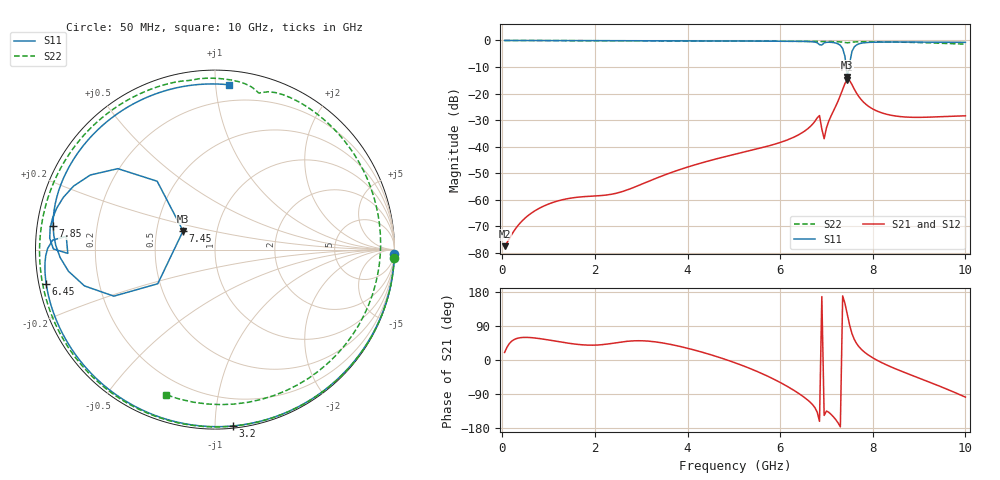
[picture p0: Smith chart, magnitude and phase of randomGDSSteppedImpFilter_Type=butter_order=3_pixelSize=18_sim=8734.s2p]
! freq	dB(S11)	phase(S11)	dB(S12)	phase(S12)
!  dB(S21)	phase(S21)	dB(S22)	phase(S22)
!S-par simulation data
#  GHz  S  DB  R 50
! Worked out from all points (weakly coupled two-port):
!   200 points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, 50 MHz to 10 GHz, reference 50 ohm
!   highest |S21| = -14.79 dB at 7.45 GHz (marker M1); lowest = -77.4 dB at 50 MHz (marker M2)
!   lowest |S11| = -13.7 dB at 7.45 GHz (marker M3), VSWR 1.52, Z = 34.2 + j7.44 ohm
!   |S11| at or under -10 dB: 7.426 GHz to 7.486 GHz (60.6 MHz wide, 0.813 % of centre)
!   |S22| runs from -1.4 to 0.0 dB; largest |S21 - S12| = 0
!   S11 on the Smith chart (normalised r, x): 50 MHz: 0, -83; 3.2 GHz: 0.01, -1.11; 6.45 GHz: 0.02, -0.10; 7.45 GHz: 0.68, +0.15; 7.85 GHz: 0.05, +0.07; 10 GHz: 0.09, +1.09
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0.05  -0.00 -1.4  -77.41 20.0  -77.41 20.0  -0.00 -2.6
0.7  -0.02 -19.1  -64.14 58.2  -64.14 58.2  -0.03 -35.4
1.75  -0.06 -47.1  -58.79 39.9  -58.79 39.9  -0.10 -83.7
3.2  -0.11 -84.2  -52.71 49.3  -52.71 49.3  -0.15 -138.7
3.4  -0.12 -89.2  -51.31 46.2  -51.31 46.2  -0.15 -145.4
5.05  -0.20 -130.1  -42.71 -8.4  -42.71 -8.4  -0.23 161.7
6.45  -0.36 -168.4  -34.98 -92.4  -34.98 -92.4  -0.32 114.4
6.7  -0.50 -177.8  -31.50 -117.7  -31.50 -117.7  -0.36 104.9
6.85  -1.60 174.9  -28.27 -161.9  -28.27 -161.9  -0.41 99.0
6.95  -0.91 179.8  -36.98 -146.3  -36.98 -146.3  -0.39 95.2
7.2  -0.97 161.1  -24.75 -157.2  -24.75 -157.2  -0.46 84.3
7.35  -3.04 140.2  -18.39 169.3  -18.39 169.3  -0.64 77.4
7.4  -6.04 130.2  -16.16 148.9  -16.16 148.9  -0.77 75.5
7.45  -13.72 149.7  -14.79 121.3  -14.79 121.3  -0.86 74.4
7.5  -8.61 -149.2  -15.10 92.3  -15.10 92.3  -0.79 73.4
7.55  -4.15 -155.3  -16.58 70.0  -16.58 70.0  -0.65 71.4
7.65  -1.67 -171.6  -19.84 43.6  -19.84 43.6  -0.51 66.4
7.85  -0.81 171.7  -24.00 18.0  -24.00 18.0  -0.48 56.0
8.35  -0.59 149.3  -27.98 -15.9  -27.98 -15.9  -0.56 28.2
9.15  -0.62 119.1  -28.89 -54.8  -28.89 -54.8  -0.87 -27.8
9.6  -0.67 101.5  -28.60 -76.9  -28.60 -76.9  -1.14 -68.0
10  -0.71 85.1  -28.36 -98.0  -28.36 -98.0  -1.38 -108.8
